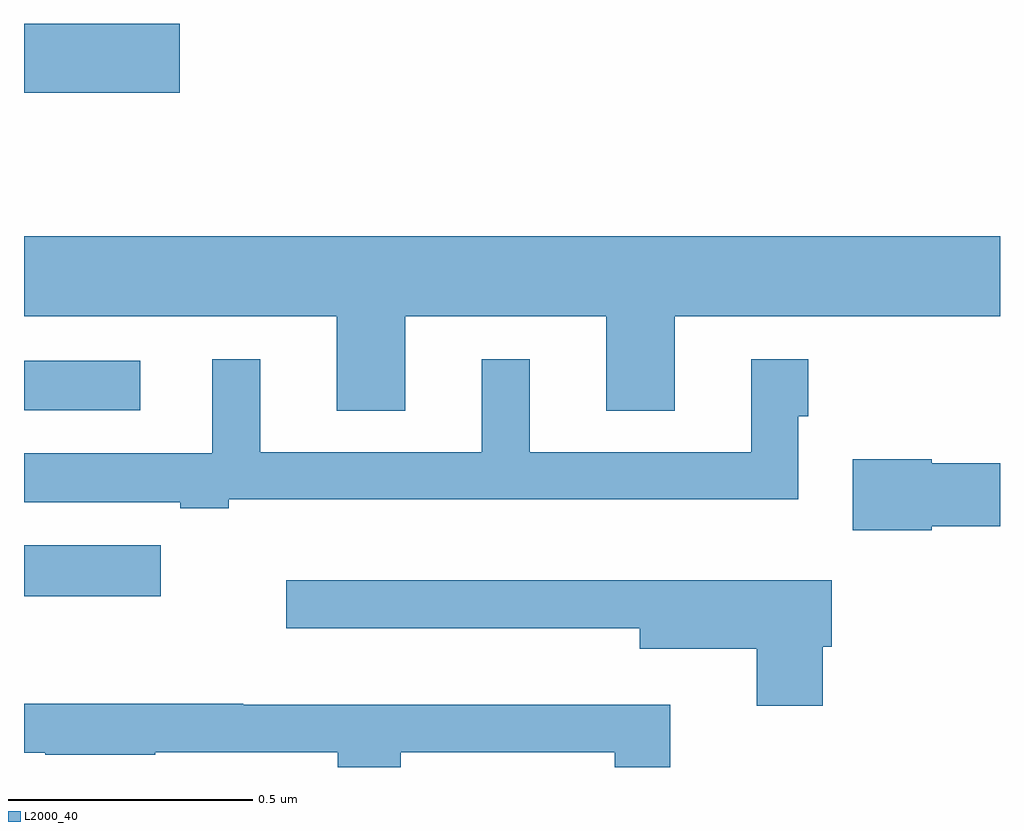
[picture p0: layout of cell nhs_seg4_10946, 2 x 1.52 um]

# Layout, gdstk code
import gdstk
lib = gdstk.Library(unit=1e-6, precision=1e-09)
def R(c, l, rs):  # rectangles x0, y0, x1, y1
    for r in rs: c.add(gdstk.rectangle(r[:2], r[2:], *l))
def P(c, l, *ps):  # polygons
    for p in ps: c.add(gdstk.Polygon(p, *l))
L2000_40 = (2000, 40)

nhs_seg4_10946 = lib.new_cell('nhs_seg4_10946')
R(nhs_seg4_10946, L2000_40, [(246,792.251,246.28,792.355), (246,792.632,246.238,792.733), (246,793.282,246.319,793.424)])
P(nhs_seg4_10946, L2000_40, [(246.781,792.824),(247.193,792.824),(247.193,792.631),(247.333,792.631),(247.333,792.824),(248,792.824),(248,792.988),(246,792.988),(246,792.824),(246.641,792.824),(246.641,792.631),(246.781,792.631)],
  [(246.42,792.449),(247.587,792.449),(247.587,792.619),(247.607,792.619),(247.607,792.736),(247.49,792.736),(247.49,792.546),(247.036,792.546),(247.036,792.736),(246.938,792.736),(246.938,792.546),(246.484,792.546),(246.484,792.736),(246.386,792.736),(246.386,792.544),(246,792.544),(246,792.443),(246.32,792.443),(246.32,792.431),(246.42,792.431)],
  [(247.86,792.394),(248,792.394),(248,792.523),(247.86,792.523),(247.86,792.531),(247.698,792.531),(247.698,792.386),(247.86,792.386)],
  [(247.637,792.147),(247.655,792.147),(247.655,792.283),(246.537,792.283),(246.537,792.185),(247.262,792.185),(247.262,792.143),(247.502,792.143),(247.502,792.026),(247.637,792.026)],
  [(246.772,791.931),(247.211,791.931),(247.211,791.9),(247.324,791.9),(247.324,792.028),(246.449,792.028),(246.449,792.03),(246,792.03),(246,791.93),(246.044,791.93),(246.044,791.926),(246.269,791.926),(246.269,791.931),(246.643,791.931),(246.643,791.9),(246.772,791.9)])

lib.write_gds('nhs_seg4_10946.gds')
